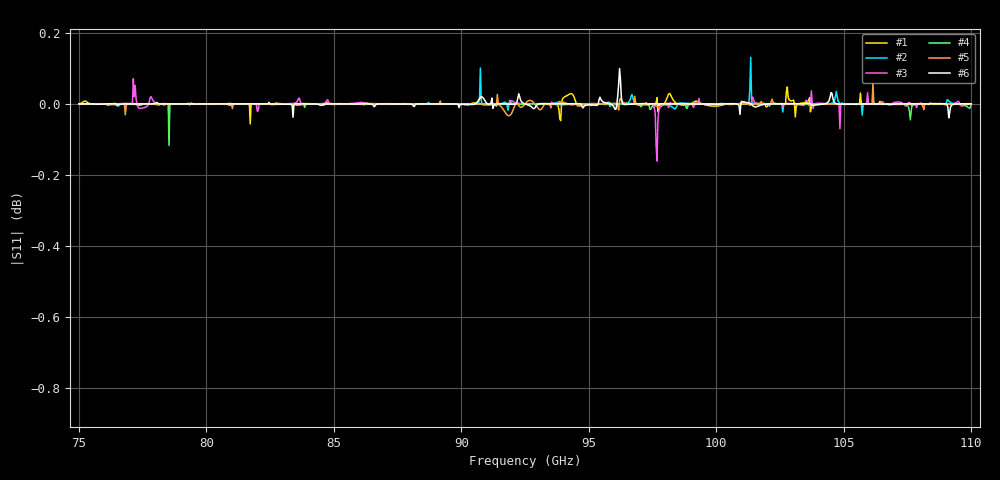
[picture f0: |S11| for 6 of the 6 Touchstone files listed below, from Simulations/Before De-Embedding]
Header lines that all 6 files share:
! TOUCHSTONE file generated by CST MICROWAVE STUDIO
! Project name: metal_rotado.cst
! Header version: 2018
! Port assignment regex: !\s*Touchstone port\s*([0-9]+)\s*=\s*(CST MWS port|CST DS port)\s*([0-9]+|Zmin|Zmax)\s*\(\"(.*)\"\)(\s*mode\s*([0-9]+))?.*
! Touchstone port assignment:
! Touchstone port 1 = CST MWS port 1 ("")
! Touchstone port 2 = CST MWS port 2 ("")
# GHz S MA R 376.7
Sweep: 75 GHz to 110 GHz
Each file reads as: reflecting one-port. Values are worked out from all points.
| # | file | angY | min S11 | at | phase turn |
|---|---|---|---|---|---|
| 1 | PEC_2mm_rotado_05oC.s2p | 0.5 | -0.1 dB | 81.72 GHz | -699 deg |
| 2 | PEC_2mm_rotado_15oC.s2p | 1.5 | 0.0 dB | 105.7 GHz | -1067 deg |
| 3 | PEC_2mm_rotado_025oC.s2p | 0.25 | -0.2 dB | 97.68 GHz | -698 deg |
| 4 | PEC_2mm_rotado_075oC.s2p | 0.75 | -0.1 dB | 78.53 GHz | -703 deg |
| 5 | PEC_2mm_rotado_125oC.s2p | 1.25 | 0.0 dB | 91.87 GHz | -1065 deg |
| 6 | PEC_2mm_rotado_175oC.s2p | 1.75 | 0.0 dB | 109.1 GHz | -1069 deg |
